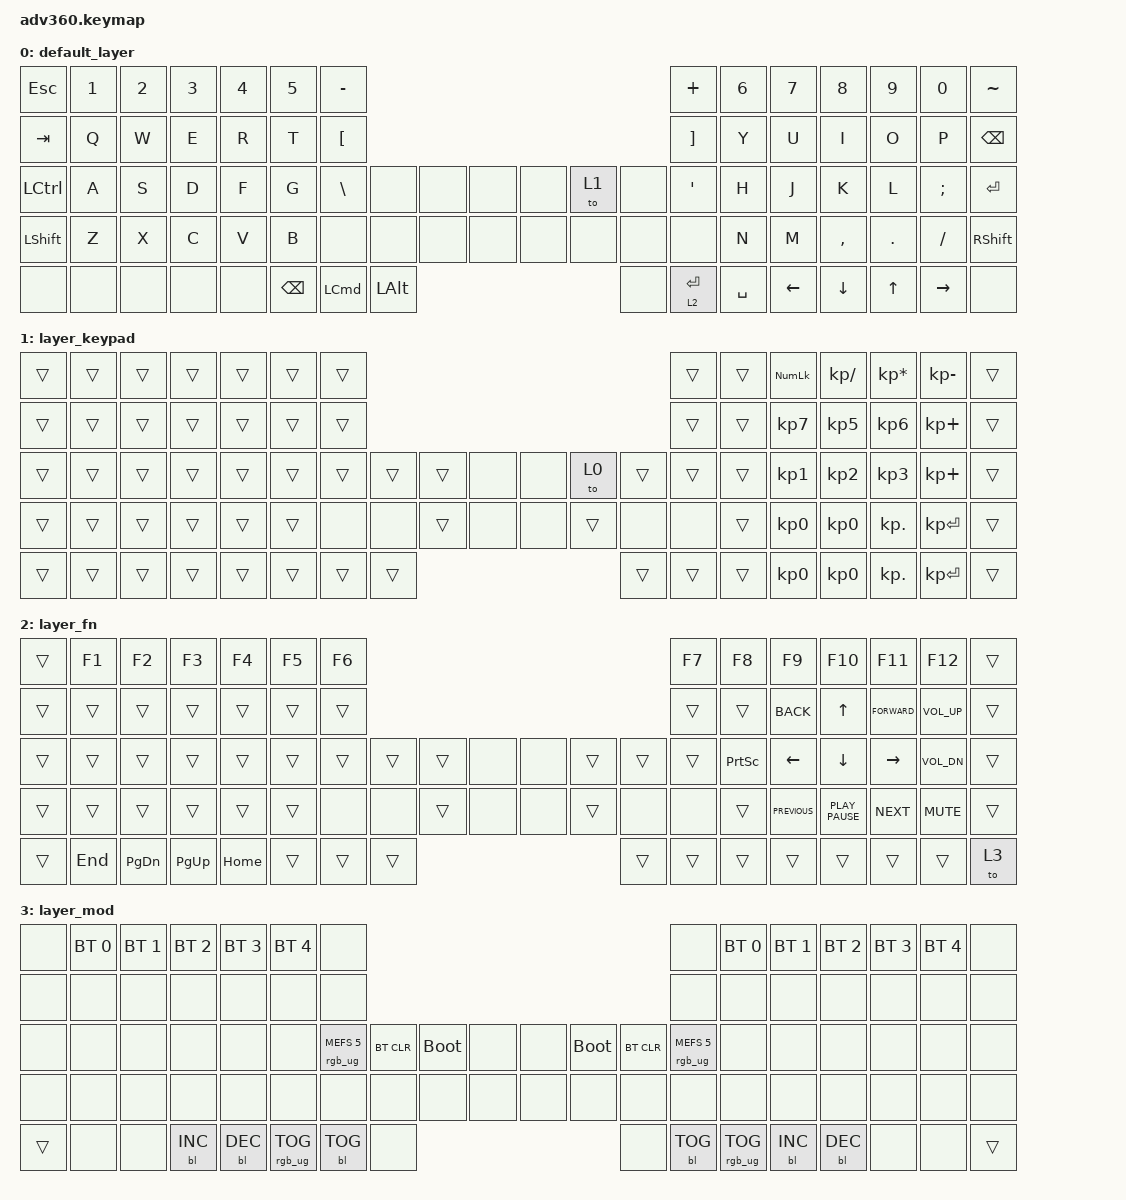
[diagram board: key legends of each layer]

/*
 * Copyright (c) 2020 The ZMK Contributors
 *
 * SPDX-License-Identifier: MIT
 */


/* THIS FILE WAS GENERATED!
 *
 * This file was generated automatically. You may or may not want to
 * edit it directly.
 */

#include <behaviors.dtsi>
#include <dt-bindings/zmk/keys.h>
#include <dt-bindings/zmk/bt.h>
#include <dt-bindings/zmk/rgb.h>
#include <dt-bindings/zmk/backlight.h>

/ {
  behaviors {
    #include "macros.dtsi"

    hm: homerow_mods {
        compatible = "zmk,behavior-hold-tap";
        label = "HOMEROW_MODS";
        #binding-cells = <2>;
        tapping-term-ms = <200>;
        quick_tap_ms = <175>;
        flavor = "tap-preferred";
        bindings = <&kp>, <&kp>;
    };
  };

    keymap {
        compatible = "zmk,keymap";


        default_layer {
            bindings = <
   &kp ESC  &kp N1  &kp N2  &kp N3  &kp N4  &kp N5                   &kp MINUS                                                                                 &kp PLUS  &kp N6    &kp N7     &kp N8   &kp N9     &kp N0      &kp TILDE
   &kp TAB   &kp Q   &kp W   &kp E   &kp R   &kp T            &kp LEFT_BRACKET                                                                        &kp RIGHT_BRACKET   &kp Y     &kp U      &kp I    &kp O      &kp P  &kp BACKSPACE
 &kp LCTRL   &kp A   &kp S   &kp D   &kp F   &kp G               &kp BACKSLASH             &none         &none   &none   &none   &to 1         &none   &kp SINGLE_QUOTE   &kp H     &kp J      &kp K    &kp L   &kp SEMI      &kp ENTER
 &kp LSHFT   &kp Z   &kp X   &kp C   &kp V   &kp B                       &none             &none         &none   &none   &none   &none         &none              &none   &kp N     &kp M  &kp COMMA  &kp DOT   &kp FSLH      &kp RSHFT
     &none   &none   &none   &none   &none                       &kp BACKSPACE  &kp LEFT_COMMAND  &kp LEFT_ALT                   &none  &lt 2 RETURN          &kp SPACE          &kp LEFT   &kp DOWN   &kp UP  &kp RIGHT          &none
            >;
        };

        layer_keypad {
            bindings = <
 &trans  &trans  &trans  &trans  &trans  &trans            &trans                                                  &trans  &trans   &kp KP_NUMLOCK    &kp KP_DIVIDE  &kp KP_MULTIPLY  &kp KP_MINUS  &trans
 &trans  &trans  &trans  &trans  &trans  &trans            &trans                                                  &trans  &trans  &kp KP_NUMBER_7        &kp KP_N5        &kp KP_N6   &kp KP_PLUS  &trans
 &trans  &trans  &trans  &trans  &trans  &trans            &trans  &trans  &trans   &none   &none   &to 0  &trans  &trans  &trans        &kp KP_N1        &kp KP_N2        &kp KP_N3   &kp KP_PLUS  &trans
 &trans  &trans  &trans  &trans  &trans  &trans             &none   &none  &trans   &none   &none  &trans   &none   &none  &trans        &kp KP_N0        &kp KP_N0       &kp KP_DOT  &kp KP_ENTER  &trans
 &trans  &trans  &trans  &trans  &trans                    &trans  &trans  &trans                  &trans  &trans  &trans          &kp KP_NUMBER_0  &kp KP_NUMBER_0       &kp KP_DOT  &kp KP_ENTER  &trans
            >;
        };

        layer_fn {
            bindings = <
 &trans   &kp F1     &kp F2     &kp F3    &kp F4  &kp F5            &kp F6                                                  &kp F7           &kp F8          &kp F9           &kp F10        &kp F11       &kp F12  &trans
 &trans   &trans     &trans     &trans    &trans  &trans            &trans                                                  &trans           &trans      &kp K_BACK      &kp UP_ARROW  &kp K_FORWARD  &kp K_VOL_UP  &trans
 &trans   &trans     &trans     &trans    &trans  &trans            &trans  &trans  &trans   &none   &none  &trans  &trans  &trans  &kp PRINTSCREEN  &kp LEFT_ARROW    &kp DOWN_ARROW      &kp RIGHT  &kp K_VOL_DN  &trans
 &trans   &trans     &trans     &trans    &trans  &trans             &none   &none  &trans   &none   &none  &trans   &none   &none           &trans  &kp K_PREVIOUS  &kp K_PLAY_PAUSE     &kp K_NEXT    &kp K_MUTE  &trans
 &trans  &kp END  &kp PG_DN  &kp PG_UP  &kp HOME                    &trans  &trans  &trans                  &trans  &trans  &trans                           &trans            &trans         &trans        &trans   &to 3
            >;
        };

        layer_mod {
            bindings = <
  &none  &bt BT_SEL 0  &bt BT_SEL 1  &bt BT_SEL 2  &bt BT_SEL 3  &bt BT_SEL 4                             &none                                                                                     &none  &bt BT_SEL 0  &bt BT_SEL 1  &bt BT_SEL 2  &bt BT_SEL 3  &bt BT_SEL 4   &none
  &none         &none         &none         &none         &none         &none                             &none                                                                                     &none         &none         &none         &none         &none         &none   &none
  &none         &none         &none         &none         &none         &none            &rgb_ug RGB_MEFS_CMD 5  &bt BT_CLR  &bootloader   &none   &none  &bootloader  &bt BT_CLR  &rgb_ug RGB_MEFS_CMD 5         &none         &none         &none         &none         &none   &none
  &none         &none         &none         &none         &none         &none                             &none       &none        &none   &none   &none        &none       &none                   &none         &none         &none         &none         &none         &none   &none
 &trans         &none         &none    &bl BL_INC    &bl BL_DEC                                 &rgb_ug RGB_TOG  &bl BL_TOG        &none                        &none  &bl BL_TOG         &rgb_ug RGB_TOG                  &bl BL_INC    &bl BL_DEC         &none         &none  &trans
            >;
        };

    };
};
